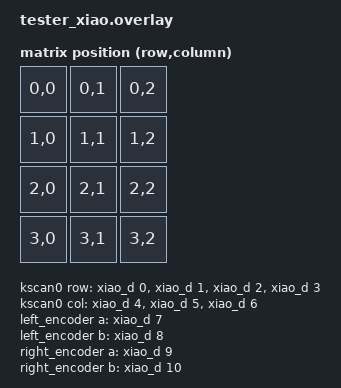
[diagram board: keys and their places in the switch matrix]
#include <dt-bindings/zmk/matrix_transform.h>

/ {
    physical_layout0: physical_layout_0 { // First physical layout, use different naming for other layouts
        compatible = "zmk,physical-layout";
        display-name = "Default Layout";
        kscan = <&kscan0>; // Label of the kscan node, optional if all layouts use the same
        transform = <&default_transform>; // Label of the matrix transform for this layout
    };
};

/ {
    chosen {
        zmk,kscan = &default_kscan;
    };

    kscan0: kscan0 {
        compatible = "zmk,kscan-gpio-matrix";
        diode-direction = "col2row";
        wakeup-source;

        col-gpios
            = <&xiao_d 4 GPIO_ACTIVE_HIGH>
            , <&xiao_d 5 GPIO_ACTIVE_HIGH>
            , <&xiao_d 6 GPIO_ACTIVE_HIGH>
            ;

        row-gpios
            = <&xiao_d 0 (GPIO_ACTIVE_HIGH | GPIO_PULL_DOWN)>
            , <&xiao_d 1 (GPIO_ACTIVE_HIGH | GPIO_PULL_DOWN)>
            , <&xiao_d 2 (GPIO_ACTIVE_HIGH | GPIO_PULL_DOWN)>
            , <&xiao_d 3 (GPIO_ACTIVE_HIGH | GPIO_PULL_DOWN)>
            ;
    };

    encoders {
        compatible = "zmk,encoders";
        #address-cells = <1>;
        #size-cells = <0>;

        left_encoder: encoder_left {
            compatible = "alps,ec11";
            a-gpios = <&xiao_d 7 (GPIO_ACTIVE_HIGH | GPIO_PULL_UP)>;
            b-gpios = <&xiao_d 8 (GPIO_ACTIVE_HIGH | GPIO_PULL_UP)>;
            steps = <24>;
            status = "okay";
        };

        right_encoder: encoder_right {
            compatible = "alps,ec11";
            a-gpios = <&xiao_d 9 (GPIO_ACTIVE_HIGH | GPIO_PULL_UP)>;
            b-gpios = <&xiao_d 10 (GPIO_ACTIVE_HIGH | GPIO_PULL_UP)>;
            steps = <24>;
            status = "okay";
        };
    };
    
    sensors: sensors {
        compatible = "zmk,keymap-sensors";
        sensors = <&left_encoder &right_encoder>;
        triggers-per-rotation = <24>;
    };

    behaviors {
        rot_vol: sensor_rotate_vol {
            compatible = "zmk,behavior-sensor-rotate-var";
            #sensor-binding-cells = <2>;
        };

        rot_pg: sensor_rotate_pg {
            compatible = "zmk,behavior-sensor-rotate-var";
            #sensor-binding-cells = <2>;
        };
    };

};

/ {
    default_transform: keymap_transform0 {
        compatible = "zmk,matrix-transform";
        columns = <3>; // Length of the "col-gpios" array
        rows = <4>; // Length of the "row-gpios" array
        map = <
        //   Key 1 | Key 2 | Key 3
            RC(0,0) RC(0,1) RC(0,2)
        //   Key 4 | Key 5 | Key 6
            RC(1,0) RC(1,1) RC(1,2)
        //   Key 7 | Key 8 | Key 9
            RC(2,0) RC(2,1) RC(2,2)

            RC(3,0) RC(3,1) RC(3,2)
        >;
    };
};

/ {
    chosen {
        zmk,physical-layout = &physical_layout0;
        // Other chosen items
    };
};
